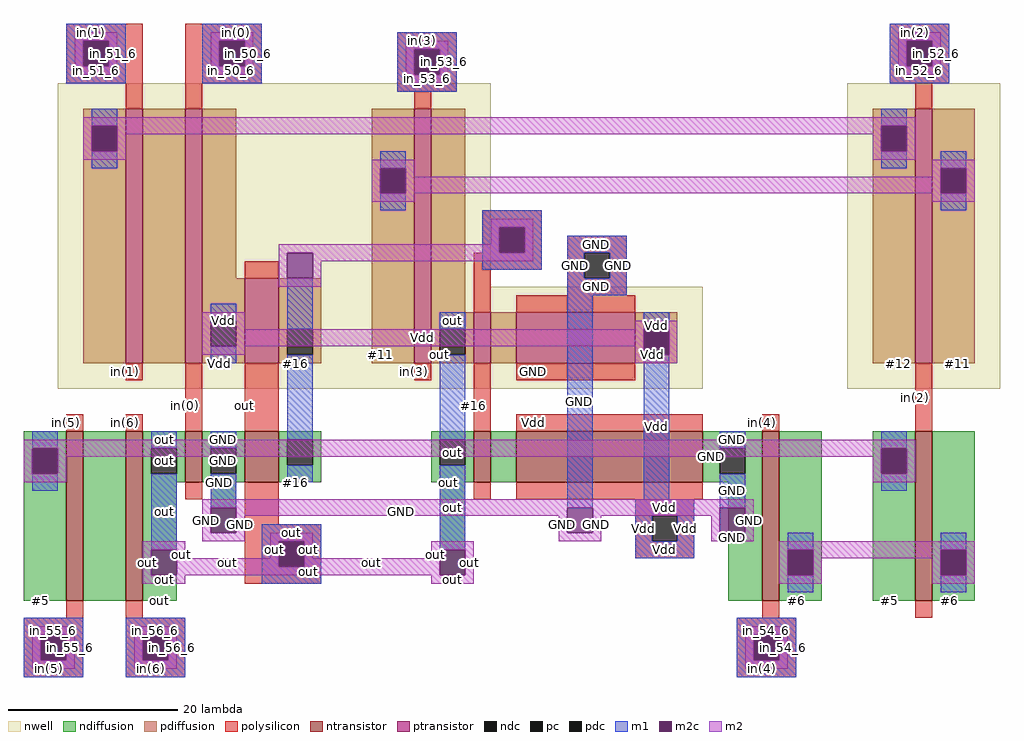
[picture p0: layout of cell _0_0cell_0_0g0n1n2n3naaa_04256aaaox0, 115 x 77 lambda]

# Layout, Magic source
magic
tech sky130l
<< nwell >>
rect 12 49 63 73
rect 12 37 88 49
rect 105 37 123 73
<< ndiffusion >>
rect 8 30 13 32
rect 8 27 9 30
rect 12 27 13 30
rect 8 12 13 27
rect 15 12 20 32
rect 22 30 27 32
rect 22 27 23 30
rect 26 27 27 30
rect 22 26 27 27
rect 29 30 34 32
rect 29 27 30 30
rect 33 27 34 30
rect 29 26 34 27
rect 38 31 43 32
rect 38 28 39 31
rect 42 28 43 31
rect 38 26 43 28
rect 56 31 61 32
rect 56 28 57 31
rect 60 28 61 31
rect 56 26 61 28
rect 63 26 66 32
rect 88 30 95 32
rect 88 27 90 30
rect 93 27 95 30
rect 88 26 95 27
rect 22 12 26 26
rect 30 20 33 26
rect 57 15 60 26
rect 91 12 95 26
rect 97 18 102 32
rect 97 15 98 18
rect 101 15 102 18
rect 97 12 102 15
rect 108 30 113 32
rect 108 27 109 30
rect 112 27 113 30
rect 108 12 113 27
rect 115 18 120 32
rect 115 15 116 18
rect 119 15 120 18
rect 115 12 120 15
<< ndc >>
rect 9 27 12 30
rect 23 27 26 30
rect 30 27 33 30
rect 39 28 42 31
rect 57 28 60 31
rect 90 27 93 30
rect 98 15 101 18
rect 109 27 112 30
rect 116 15 119 18
<< ntransistor >>
rect 13 12 15 32
rect 20 12 22 32
rect 27 26 29 32
rect 34 26 38 32
rect 61 26 63 32
rect 66 26 88 32
rect 95 12 97 32
rect 113 12 115 32
<< pdiffusion >>
rect 15 68 20 70
rect 15 65 16 68
rect 19 65 20 68
rect 15 40 20 65
rect 22 40 27 70
rect 29 50 33 70
rect 49 63 54 70
rect 49 60 50 63
rect 53 60 54 63
rect 29 45 34 50
rect 29 42 30 45
rect 33 42 34 45
rect 29 40 34 42
rect 38 44 43 50
rect 38 41 39 44
rect 42 41 43 44
rect 38 40 43 41
rect 49 40 54 60
rect 56 46 60 70
rect 108 68 113 70
rect 108 65 109 68
rect 112 65 113 68
rect 56 44 61 46
rect 56 41 57 44
rect 60 41 61 44
rect 56 40 61 41
rect 63 40 66 46
rect 80 44 85 46
rect 80 41 81 44
rect 84 41 85 44
rect 80 40 85 41
rect 108 40 113 65
rect 115 63 120 70
rect 115 60 116 63
rect 119 60 120 63
rect 115 40 120 60
<< pdc >>
rect 16 65 19 68
rect 50 60 53 63
rect 30 42 33 45
rect 39 41 42 44
rect 109 65 112 68
rect 57 41 60 44
rect 81 41 84 44
rect 116 60 119 63
<< ptransistor >>
rect 20 40 22 70
rect 27 40 29 70
rect 34 40 38 50
rect 54 40 56 70
rect 61 40 63 46
rect 66 40 80 46
rect 113 40 115 70
<< polysilicon >>
rect 13 78 22 80
rect 13 75 15 78
rect 18 75 22 78
rect 13 73 22 75
rect 20 70 22 73
rect 27 78 36 80
rect 27 75 31 78
rect 34 75 36 78
rect 27 73 36 75
rect 52 77 59 79
rect 52 74 54 77
rect 57 74 59 77
rect 27 70 29 73
rect 52 72 59 74
rect 110 78 117 80
rect 110 75 112 78
rect 115 75 117 78
rect 110 73 117 75
rect 54 70 56 72
rect 113 70 115 73
rect 34 50 38 52
rect 62 56 69 58
rect 62 53 64 56
rect 67 53 69 56
rect 61 51 69 53
rect 72 53 79 55
rect 61 46 63 51
rect 72 50 74 53
rect 77 50 79 53
rect 72 48 79 50
rect 66 46 80 48
rect 20 38 22 40
rect 13 32 15 34
rect 20 32 22 34
rect 27 32 29 40
rect 34 32 38 40
rect 54 38 56 40
rect 61 32 63 40
rect 66 38 80 40
rect 66 32 88 34
rect 95 32 97 34
rect 113 32 115 40
rect 27 24 29 26
rect 34 21 38 26
rect 34 19 43 21
rect 34 16 38 19
rect 41 16 43 19
rect 34 14 43 16
rect 61 24 63 26
rect 66 24 88 26
rect 80 22 87 24
rect 80 19 82 22
rect 85 19 87 22
rect 80 17 87 19
rect 13 10 15 12
rect 8 8 15 10
rect 8 5 10 8
rect 13 5 15 8
rect 8 3 15 5
rect 20 10 22 12
rect 95 10 97 12
rect 113 10 115 12
rect 20 8 27 10
rect 20 5 22 8
rect 25 5 27 8
rect 20 3 27 5
rect 92 8 99 10
rect 92 5 94 8
rect 97 5 99 8
rect 92 3 99 5
<< pc >>
rect 15 75 18 78
rect 31 75 34 78
rect 54 74 57 77
rect 112 75 115 78
rect 64 53 67 56
rect 74 50 77 53
rect 38 16 41 19
rect 82 19 85 22
rect 10 5 13 8
rect 22 5 25 8
rect 94 5 97 8
<< m1 >>
rect 13 78 20 80
rect 13 75 15 78
rect 18 75 20 78
rect 13 73 20 75
rect 29 78 36 80
rect 29 75 31 78
rect 34 75 36 78
rect 29 73 36 75
rect 52 77 59 79
rect 52 74 54 77
rect 57 74 59 77
rect 52 72 59 74
rect 110 78 117 80
rect 110 75 112 78
rect 115 75 117 78
rect 110 73 117 75
rect 16 68 19 70
rect 109 68 112 70
rect 16 63 19 65
rect 50 63 53 65
rect 109 63 112 65
rect 116 63 119 65
rect 50 58 53 60
rect 116 58 119 60
rect 62 56 69 58
rect 62 53 64 56
rect 67 53 69 56
rect 62 51 69 53
rect 72 53 79 55
rect 30 45 33 47
rect 30 40 33 42
rect 39 44 42 50
rect 72 50 74 53
rect 77 50 79 53
rect 72 48 79 50
rect 9 30 12 32
rect 9 25 12 27
rect 23 30 26 32
rect 23 18 26 27
rect 30 30 33 32
rect 30 23 33 27
rect 39 31 42 41
rect 39 26 42 28
rect 57 44 60 46
rect 57 31 60 41
rect 36 19 43 21
rect 36 16 38 19
rect 41 16 43 19
rect 36 14 43 16
rect 57 18 60 28
rect 72 23 75 48
rect 81 44 84 46
rect 81 24 84 41
rect 90 30 93 32
rect 80 22 87 24
rect 80 19 82 22
rect 85 19 87 22
rect 90 23 93 27
rect 109 30 112 32
rect 109 25 112 27
rect 90 19 93 20
rect 80 17 87 19
rect 98 18 101 20
rect 98 13 101 15
rect 116 18 119 20
rect 116 13 119 15
rect 8 8 15 10
rect 8 5 10 8
rect 13 5 15 8
rect 8 3 15 5
rect 20 8 27 10
rect 20 5 22 8
rect 25 5 27 8
rect 20 3 27 5
rect 92 8 99 10
rect 92 5 94 8
rect 97 5 99 8
rect 92 3 99 5
<< m2c >>
rect 15 75 18 78
rect 31 75 34 78
rect 54 74 57 77
rect 112 75 115 78
rect 16 65 19 68
rect 109 65 112 68
rect 50 60 53 63
rect 116 60 119 63
rect 64 53 67 56
rect 39 50 42 53
rect 9 27 12 30
rect 30 20 33 23
rect 23 15 26 18
rect 38 16 41 19
rect 81 41 84 44
rect 72 20 75 23
rect 57 15 60 18
rect 109 27 112 30
rect 90 20 93 23
rect 98 15 101 18
rect 116 15 119 18
rect 10 5 13 8
rect 22 5 25 8
rect 94 5 97 8
<< m2 >>
rect 14 78 19 79
rect 14 75 15 78
rect 18 75 19 78
rect 14 74 19 75
rect 30 78 35 79
rect 111 78 116 79
rect 30 75 31 78
rect 34 75 35 78
rect 30 74 35 75
rect 53 77 58 78
rect 53 74 54 77
rect 57 74 58 77
rect 111 75 112 78
rect 115 75 116 78
rect 111 74 116 75
rect 53 73 58 74
rect 15 68 113 69
rect 15 65 16 68
rect 19 67 109 68
rect 19 65 20 67
rect 15 64 20 65
rect 108 65 109 67
rect 112 65 113 68
rect 108 64 113 65
rect 49 63 54 64
rect 49 60 50 63
rect 53 62 54 63
rect 115 63 120 64
rect 115 62 116 63
rect 53 60 116 62
rect 119 60 120 63
rect 49 59 54 60
rect 115 59 120 60
rect 63 56 68 57
rect 63 54 64 56
rect 38 53 64 54
rect 67 53 68 56
rect 38 50 39 53
rect 42 52 68 53
rect 42 50 43 52
rect 38 49 43 50
rect 29 44 34 46
rect 80 44 85 45
rect 29 42 81 44
rect 29 41 34 42
rect 80 41 81 42
rect 84 41 85 44
rect 80 40 85 41
rect 8 30 113 31
rect 8 27 9 30
rect 12 29 109 30
rect 12 27 13 29
rect 8 26 13 27
rect 108 27 109 29
rect 112 27 113 30
rect 108 26 113 27
rect 29 23 94 24
rect 29 20 30 23
rect 33 22 72 23
rect 33 20 34 22
rect 71 20 72 22
rect 75 22 90 23
rect 75 20 76 22
rect 29 19 34 20
rect 37 19 42 20
rect 71 19 76 20
rect 89 20 90 22
rect 93 20 94 23
rect 89 19 94 20
rect 22 18 27 19
rect 22 15 23 18
rect 26 17 27 18
rect 37 17 38 19
rect 26 16 38 17
rect 41 17 42 19
rect 56 18 61 19
rect 56 17 57 18
rect 41 16 57 17
rect 26 15 57 16
rect 60 15 61 18
rect 22 14 27 15
rect 56 14 61 15
rect 97 18 120 19
rect 97 15 98 18
rect 101 17 116 18
rect 101 15 102 17
rect 97 14 102 15
rect 115 15 116 17
rect 119 15 120 18
rect 115 14 120 15
rect 9 8 14 9
rect 9 5 10 8
rect 13 5 14 8
rect 9 4 14 5
rect 21 8 26 9
rect 21 5 22 8
rect 25 5 26 8
rect 21 4 26 5
rect 93 8 98 9
rect 93 5 94 8
rect 97 5 98 8
rect 93 4 98 5
<< labels >>
flabel ndiffusion 24 12 24 12 1 FreeSerif 8 0 0 0 out
flabel ndiffusion 99 12 99 12 1 FreeSerif 8 0 0 0 #6
flabel ndiffusion 110 12 110 12 1 FreeSerif 8 0 0 0 #5
flabel ndiffusion 117 12 117 12 1 FreeSerif 8 0 0 0 #6
flabel ndiffusion 31 26 31 26 1 FreeSerif 8 0 0 0 GND
flabel ndiffusion 40 26 40 26 1 FreeSerif 8 0 0 0 #16
flabel polysilicon 34 35 34 35 3 FreeSerif 8 0 0 0 out
flabel polysilicon 27 35 27 35 3 FreeSerif 8 0 0 0 in(0)
flabel polysilicon 13 33 13 33 3 FreeSerif 8 0 0 0 in(5)
flabel polysilicon 20 33 20 33 3 FreeSerif 8 0 0 0 in(6)
flabel ndiffusion 58 26 58 26 1 FreeSerif 8 0 0 0 out
flabel polysilicon 68 33 68 33 3 FreeSerif 8 0 0 0 Vdd
flabel polysilicon 61 35 61 35 3 FreeSerif 8 0 0 0 #16
flabel polysilicon 54 39 54 39 3 FreeSerif 8 0 0 0 in(3)
flabel polysilicon 68 39 68 39 3 FreeSerif 8 0 0 0 GND
flabel ndiffusion 89 29 89 29 3 FreeSerif 8 0 0 0 GND
flabel polysilicon 113 36 113 36 3 FreeSerif 8 0 0 0 in(2)
flabel polysilicon 95 33 95 33 3 FreeSerif 8 0 0 0 in(4)
flabel pdiffusion 118 40 118 40 1 FreeSerif 8 0 0 0 #11
flabel pdiffusion 111 40 111 40 1 FreeSerif 8 0 0 0 #12
flabel pdiffusion 82 41 82 41 3 FreeSerif 8 0 0 0 Vdd
flabel pdiffusion 57 41 57 41 1 FreeSerif 8 0 0 0 out
flabel pdiffusion 50 41 50 41 1 FreeSerif 8 0 0 0 #11
flabel pdiffusion 40 40 40 40 1 FreeSerif 8 0 0 0 #16
flabel pdiffusion 31 40 31 40 1 FreeSerif 8 0 0 0 Vdd
flabel polysilicon 20 39 20 39 3 FreeSerif 8 0 0 0 in(1)
flabel pdiffusion 17 40 17 40 1 FreeSerif 8 0 0 0 #12
flabel ndiffusion 10 12 10 12 1 FreeSerif 8 0 0 0 #5
flabel m2 s 93 20 94 23 5 FreeSerif 8 0 0 0 GND
port 1 nsew ground input
flabel m2 s 84 41 85 44 3 FreeSerif 8 0 0 0 Vdd
port 2 nsew power input
flabel m2 11 4 11 4 5 FreeSerif 8 0 0 0 in(5)
port 4 s
flabel m2 23 4 23 4 5 FreeSerif 8 0 0 0 in(6)
port 3 s
flabel m2 95 4 95 4 5 FreeSerif 8 0 0 0 in(4)
port 5 s
flabel m2 113 79 113 79 1 FreeSerif 8 0 0 0 in(2)
port 7 n
flabel m2 55 78 55 78 1 FreeSerif 8 0 0 0 in(3)
port 6 n
flabel m2 33 79 33 79 1 FreeSerif 8 0 0 0 in(0)
port 10 n
flabel m2 16 79 16 79 1 FreeSerif 8 0 0 0 in(1)
port 8 n
flabel m2 s 56 14 61 15 5 FreeSerif 8 0 0 0 out
port 9 nsew signal output
rlabel m2 s 34 75 35 78 5 in_50_6
port 1 nsew signal input
rlabel m2 s 31 75 34 78 5 in_50_6
port 1 nsew signal input
rlabel m2 s 30 74 35 75 1 in_50_6
port 1 nsew signal input
rlabel m2 s 30 75 31 78 5 in_50_6
port 1 nsew signal input
rlabel m2 s 30 78 35 79 5 in_50_6
port 1 nsew signal input
rlabel m1 s 34 75 36 78 5 in_50_6
port 1 nsew signal input
rlabel m1 s 31 75 34 78 5 in_50_6
port 1 nsew signal input
rlabel m1 s 29 73 36 75 1 in_50_6
port 1 nsew signal input
rlabel m1 s 29 75 31 78 5 in_50_6
port 1 nsew signal input
rlabel m1 s 29 78 36 80 5 in_50_6
port 1 nsew signal input
rlabel m2 s 18 75 19 78 5 in_51_6
port 2 nsew signal input
rlabel m2 s 15 75 18 78 5 in_51_6
port 2 nsew signal input
rlabel m2 s 14 74 19 75 1 in_51_6
port 2 nsew signal input
rlabel m2 s 14 75 15 78 5 in_51_6
port 2 nsew signal input
rlabel m2 s 14 78 19 79 5 in_51_6
port 2 nsew signal input
rlabel m1 s 18 75 20 78 5 in_51_6
port 2 nsew signal input
rlabel m1 s 15 75 18 78 5 in_51_6
port 2 nsew signal input
rlabel m1 s 13 73 20 75 1 in_51_6
port 2 nsew signal input
rlabel m1 s 13 75 15 78 5 in_51_6
port 2 nsew signal input
rlabel m1 s 13 78 20 80 5 in_51_6
port 2 nsew signal input
rlabel m2 s 115 75 116 78 5 in_52_6
port 3 nsew signal input
rlabel m2 s 112 75 115 78 5 in_52_6
port 3 nsew signal input
rlabel m2 s 111 74 116 75 1 in_52_6
port 3 nsew signal input
rlabel m2 s 111 75 112 78 5 in_52_6
port 3 nsew signal input
rlabel m2 s 111 78 116 79 5 in_52_6
port 3 nsew signal input
rlabel m1 s 115 75 117 78 5 in_52_6
port 3 nsew signal input
rlabel m1 s 112 75 115 78 5 in_52_6
port 3 nsew signal input
rlabel m1 s 110 73 117 75 1 in_52_6
port 3 nsew signal input
rlabel m1 s 110 75 112 78 5 in_52_6
port 3 nsew signal input
rlabel m1 s 110 78 117 80 5 in_52_6
port 3 nsew signal input
rlabel m2 s 57 74 58 77 5 in_53_6
port 4 nsew signal input
rlabel m2 s 53 77 58 78 5 in_53_6
port 4 nsew signal input
rlabel m2 s 54 74 57 77 5 in_53_6
port 4 nsew signal input
rlabel m2 s 53 74 54 77 5 in_53_6
port 4 nsew signal input
rlabel m2 s 53 73 58 74 1 in_53_6
port 4 nsew signal input
rlabel m1 s 57 74 59 77 5 in_53_6
port 4 nsew signal input
rlabel m1 s 54 74 57 77 5 in_53_6
port 4 nsew signal input
rlabel m1 s 52 72 59 74 1 in_53_6
port 4 nsew signal input
rlabel m1 s 52 74 54 77 5 in_53_6
port 4 nsew signal input
rlabel m1 s 52 77 59 79 5 in_53_6
port 4 nsew signal input
rlabel m2 s 97 5 98 8 1 in_54_6
port 5 nsew signal input
rlabel m2 s 94 5 97 8 1 in_54_6
port 5 nsew signal input
rlabel m2 s 93 4 98 5 1 in_54_6
port 5 nsew signal input
rlabel m2 s 93 5 94 8 1 in_54_6
port 5 nsew signal input
rlabel m2 s 93 8 98 9 1 in_54_6
port 5 nsew signal input
rlabel m1 s 97 5 99 8 1 in_54_6
port 5 nsew signal input
rlabel m1 s 94 5 97 8 1 in_54_6
port 5 nsew signal input
rlabel m1 s 92 3 99 5 1 in_54_6
port 5 nsew signal input
rlabel m1 s 92 5 94 8 1 in_54_6
port 5 nsew signal input
rlabel m1 s 92 8 99 10 1 in_54_6
port 5 nsew signal input
rlabel m2 s 13 5 14 8 2 in_55_6
port 6 nsew signal input
rlabel m2 s 10 5 13 8 2 in_55_6
port 6 nsew signal input
rlabel m2 s 9 4 14 5 2 in_55_6
port 6 nsew signal input
rlabel m2 s 9 5 10 8 2 in_55_6
port 6 nsew signal input
rlabel m2 s 9 8 14 9 2 in_55_6
port 6 nsew signal input
rlabel m1 s 13 5 15 8 1 in_55_6
port 6 nsew signal input
rlabel m1 s 10 5 13 8 2 in_55_6
port 6 nsew signal input
rlabel m1 s 8 3 15 5 2 in_55_6
port 6 nsew signal input
rlabel m1 s 8 5 10 8 2 in_55_6
port 6 nsew signal input
rlabel m1 s 8 8 15 10 3 in_55_6
port 6 nsew signal input
rlabel m2 s 25 5 26 8 1 in_56_6
port 7 nsew signal input
rlabel m2 s 22 5 25 8 1 in_56_6
port 7 nsew signal input
rlabel m2 s 21 4 26 5 1 in_56_6
port 7 nsew signal input
rlabel m2 s 21 5 22 8 1 in_56_6
port 7 nsew signal input
rlabel m2 s 21 8 26 9 1 in_56_6
port 7 nsew signal input
rlabel m1 s 25 5 27 8 1 in_56_6
port 7 nsew signal input
rlabel m1 s 22 5 25 8 1 in_56_6
port 7 nsew signal input
rlabel m1 s 20 5 22 8 1 in_56_6
port 7 nsew signal input
rlabel m1 s 20 3 27 5 1 in_56_6
port 7 nsew signal input
rlabel m1 s 20 8 27 10 1 in_56_6
port 7 nsew signal input
rlabel m2 s 56 17 57 18 1 out
port 9 nsew signal output
rlabel m2 s 56 18 61 19 1 out
port 9 nsew signal output
rlabel m2 s 37 17 38 19 1 out
port 9 nsew signal output
rlabel m2 s 60 15 61 18 1 out
port 9 nsew signal output
rlabel m2 s 41 16 57 17 1 out
port 9 nsew signal output
rlabel m2 s 41 17 42 19 1 out
port 9 nsew signal output
rlabel m2 s 37 19 42 20 1 out
port 9 nsew signal output
rlabel m2 s 57 15 60 18 1 out
port 9 nsew signal output
rlabel m2 s 38 16 41 19 1 out
port 9 nsew signal output
rlabel m2 s 26 15 57 16 1 out
port 9 nsew signal output
rlabel m2 s 26 16 38 17 1 out
port 9 nsew signal output
rlabel m2 s 26 17 27 18 1 out
port 9 nsew signal output
rlabel m2 s 23 15 26 18 1 out
port 9 nsew signal output
rlabel m2 s 22 14 27 15 1 out
port 9 nsew signal output
rlabel m2 s 22 15 23 18 1 out
port 9 nsew signal output
rlabel m2 s 22 18 27 19 1 out
port 9 nsew signal output
rlabel m1 s 57 28 60 31 1 out
port 9 nsew signal output
rlabel m1 s 57 31 60 41 1 out
port 9 nsew signal output
rlabel m1 s 57 41 60 44 1 out
port 9 nsew signal output
rlabel m1 s 57 44 60 46 1 out
port 9 nsew signal output
rlabel m1 s 57 18 60 28 1 out
port 9 nsew signal output
rlabel m1 s 36 19 43 21 1 out
port 9 nsew signal output
rlabel m1 s 57 15 60 18 1 out
port 9 nsew signal output
rlabel m1 s 41 16 43 19 1 out
port 9 nsew signal output
rlabel m1 s 23 27 26 30 1 out
port 9 nsew signal output
rlabel m1 s 23 30 26 32 1 out
port 9 nsew signal output
rlabel m1 s 38 16 41 19 1 out
port 9 nsew signal output
rlabel m1 s 36 14 43 16 1 out
port 9 nsew signal output
rlabel m1 s 36 16 38 19 1 out
port 9 nsew signal output
rlabel m1 s 23 15 26 18 1 out
port 9 nsew signal output
rlabel m1 s 23 18 26 27 1 out
port 9 nsew signal output
rlabel m2 s 81 41 84 44 1 Vdd
port 2 nsew power input
rlabel m2 s 80 40 85 41 1 Vdd
port 2 nsew power input
rlabel m2 s 80 41 81 42 1 Vdd
port 2 nsew power input
rlabel m2 s 80 44 85 45 1 Vdd
port 2 nsew power input
rlabel m2 s 29 41 34 42 1 Vdd
port 2 nsew power input
rlabel m2 s 29 42 81 44 1 Vdd
port 2 nsew power input
rlabel m2 s 29 44 34 46 1 Vdd
port 2 nsew power input
rlabel m1 s 85 19 87 22 1 Vdd
port 2 nsew power input
rlabel m1 s 81 24 84 41 1 Vdd
port 2 nsew power input
rlabel m1 s 82 19 85 22 1 Vdd
port 2 nsew power input
rlabel m1 s 80 22 87 24 1 Vdd
port 2 nsew power input
rlabel m1 s 81 41 84 44 1 Vdd
port 2 nsew power input
rlabel m1 s 81 44 84 46 1 Vdd
port 2 nsew power input
rlabel m1 s 80 19 82 22 1 Vdd
port 2 nsew power input
rlabel m1 s 30 40 33 42 1 Vdd
port 2 nsew power input
rlabel m1 s 30 42 33 45 1 Vdd
port 2 nsew power input
rlabel m1 s 30 45 33 47 1 Vdd
port 2 nsew power input
rlabel m1 s 80 17 87 19 1 Vdd
port 2 nsew power input
rlabel m2 s 90 20 93 23 1 GND
port 1 nsew ground input
rlabel m2 s 89 19 94 20 1 GND
port 1 nsew ground input
rlabel m2 s 89 20 90 22 1 GND
port 1 nsew ground input
rlabel m2 s 75 20 76 22 1 GND
port 1 nsew ground input
rlabel m2 s 75 22 90 23 1 GND
port 1 nsew ground input
rlabel m2 s 72 20 75 23 1 GND
port 1 nsew ground input
rlabel m2 s 71 19 76 20 1 GND
port 1 nsew ground input
rlabel m2 s 71 20 72 22 1 GND
port 1 nsew ground input
rlabel m2 s 33 20 34 22 1 GND
port 1 nsew ground input
rlabel m2 s 33 22 72 23 1 GND
port 1 nsew ground input
rlabel m2 s 30 20 33 23 1 GND
port 1 nsew ground input
rlabel m2 s 29 19 34 20 1 GND
port 1 nsew ground input
rlabel m2 s 29 20 30 23 1 GND
port 1 nsew ground input
rlabel m2 s 29 23 94 24 1 GND
port 1 nsew ground input
rlabel m1 s 77 50 79 53 1 GND
port 1 nsew ground input
rlabel m1 s 72 53 79 55 1 GND
port 1 nsew ground input
rlabel m1 s 74 50 77 53 1 GND
port 1 nsew ground input
rlabel m1 s 72 48 79 50 1 GND
port 1 nsew ground input
rlabel m1 s 72 50 74 53 1 GND
port 1 nsew ground input
rlabel m1 s 90 19 93 20 1 GND
port 1 nsew ground input
rlabel m1 s 90 20 93 23 1 GND
port 1 nsew ground input
rlabel m1 s 90 27 93 30 1 GND
port 1 nsew ground input
rlabel m1 s 90 30 93 32 1 GND
port 1 nsew ground input
rlabel m1 s 90 23 93 27 1 GND
port 1 nsew ground input
rlabel m1 s 72 20 75 23 1 GND
port 1 nsew ground input
rlabel m1 s 72 23 75 48 1 GND
port 1 nsew ground input
rlabel m1 s 30 27 33 30 1 GND
port 1 nsew ground input
rlabel m1 s 30 30 33 32 1 GND
port 1 nsew ground input
rlabel m1 s 30 20 33 23 1 GND
port 1 nsew ground input
rlabel m1 s 30 23 33 27 1 GND
port 1 nsew ground input
<< properties >>
string FIXED_BBOX 0 0 128 84
string LEFclass CORE
string LEFsite CoreSite
string LEFsymmetry X Y
<< end >>
